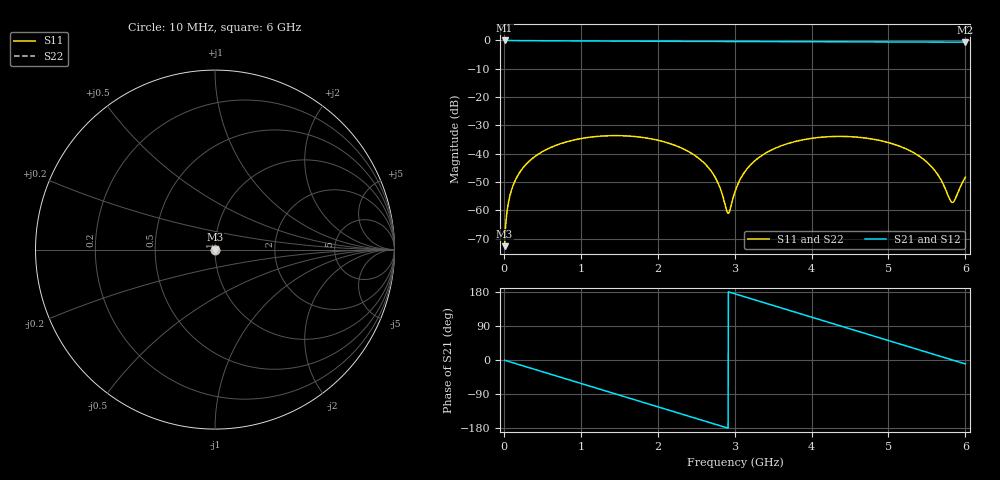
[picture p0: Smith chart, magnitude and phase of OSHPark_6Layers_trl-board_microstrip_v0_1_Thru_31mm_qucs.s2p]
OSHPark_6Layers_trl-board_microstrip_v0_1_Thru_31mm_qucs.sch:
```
<Qucs Schematic 0.0.19>
<Properties>
  <View=-103,-321,1501,625,1,19,14>
  <Grid=10,10,1>
  <DataSet=OSHPark_6Layers_trl-board_microstrip_v0_1_Thru_31mm_qucs.dat>
  <DataDisplay=OSHPark_6Layers_trl-board_microstrip_v0_1_Thru_31mm_qucs.dpl>
  <OpenDisplay=1>
  <Script=OSHPark_6Layers_trl-board_microstrip_v0_1_Thru_31mm_qucs.m>
  <RunScript=0>
  <showFrame=0>
  <FrameText0=Title>
  <FrameText1=Drawn By:>
  <FrameText2=Date:>
  <FrameText3=Revision:>
</Properties>
<Symbol>
</Symbol>
<Components>
  <Eqn Eqn1 1 230 -40 -30 16 0 0 "S11dB=dB(S[1,1])" 1 "S21dB=dB(S[2,1])" 1 "S21phase=phase(S[2,1])" 1 "yes" 0>
  <Eqn EqnTC1 1 430 -40 -23 12 0 0 "A=twoport(S,'S','A')" 1 "ZL=real(sqrt(A[1,2]/A[2,1]))" 1 "yes" 0>
  <SUBST Subst1 1 450 -230 -30 24 0 0 "3.66" 1 "0.11 mm" 1 "18 um" 1 "0.01" 1 "1.72e-08" 1 "0.1 um" 1>
  <GND * 1 310 -130 0 0 0 0>
  <GND * 1 70 -130 0 0 0 0>
  <Pac P1 1 70 -180 -74 -26 1 1 "1" 1 "50 Ohm" 1 "0 dBm" 0 "1 GHz" 0 "26.85" 0>
  <Pac P2 1 310 -170 18 -26 0 1 "2" 1 "50 Ohm" 1 "0 dBm" 0 "1 GHz" 0 "26.85" 0>
  <MLIN MS1 1 200 -260 -26 15 0 0 "Subst1" 1 "0.216 mm" 1 "31 mm" 1 "Hammerstad" 0 "Kirschning" 0 "25" 0>
  <.SP SP1 1 40 -70 0 63 0 0 "lin" 1 "0.01 GHz" 1 "6 GHz" 1 "1601" 1 "no" 0 "1" 0 "2" 0 "no" 0 "no" 0>
</Components>
<Wires>
  <310 -140 310 -130 "" 0 0 0 "">
  <70 -150 70 -130 "" 0 0 0 "">
  <310 -260 310 -200 "" 0 0 0 "">
  <230 -260 310 -260 "" 0 0 0 "">
  <70 -260 70 -210 "" 0 0 0 "">
  <70 -260 170 -260 "" 0 0 0 "">
</Wires>
<Diagrams>
  <Rect 640 76 814 346 3 #c0c0c0 1 00 1 0 2e+09 2e+10 1 -75.5285 10 -27.8096 1 -1 0.5 1 315 0 225 "" "" "">
	<"S11dB" #ff0000 0 3 0 0 0>
  </Rect>
  <Rect 640 503 816 383 3 #c0c0c0 1 00 1 0 0.2 1 1 -0.1 0.5 1.1 1 -0.1 0.5 1.1 315 0 225 "" "" "">
	<"S21dB" #0000ff 0 3 0 0 0>
  </Rect>
  <Rect 10 489 568 369 3 #c0c0c0 1 00 1 0 0.2 1 1 -0.1 0.5 1.1 1 -0.1 0.5 1.1 315 0 225 "" "" "">
	<"ZL" #0000ff 0 3 0 0 0>
  </Rect>
</Diagrams>
<Paintings>
</Paintings>
```
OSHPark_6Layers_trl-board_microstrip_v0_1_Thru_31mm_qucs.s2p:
# HZ S RI R 50
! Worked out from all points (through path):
!   1601 points, 10 MHz to 6 GHz, reference 50 ohm
!   highest |S21| = -0.02 dB at 10 MHz (marker M1); lowest = -0.6 dB at 6 GHz (marker M2)
!   group delay of S21, straight-line fit = 171 ps
!   lowest |S11| = -72.6 dB at 10 MHz (marker M3), VSWR 1.00, Z = 50 + j0.0231 ohm
!   |S11| at or under -10 dB: start of sweep to end of sweep
!   |S22| runs from -72.6 to -33.6 dB; largest |S21 - S12| = 0
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1e7  4.05e-05 0.000231  0.9982 -0.0108  0.9982 -0.0108  4.05e-05 0.000231
2.421125e8  0.00161 0.00526  0.9569 -0.2554  0.9569 -0.2554  0.00161 0.00526
9.83375e8  0.0161 0.00879  0.4791 -0.853  0.4791 -0.853  0.0161 0.00879
2.177631e9  0.011 -0.01  -0.6746 -0.6897  -0.6746 -0.6897  0.011 -0.01
2.911406e9  0.00089 -0.000115  -0.9576 -0.00558  -0.9576 -0.00558  0.00089 -0.000115
3.005e9  0.00108 0.00186  -0.9525 0.0908  -0.9525 0.0908  0.00108 0.00186
3.469225e9  0.00711 0.00903  -0.7886 0.5341  -0.7886 0.5341  0.00711 0.00903
4.4426e9  0.0201 -0.00139  0.0692 0.9413  0.0692 0.9413  0.0201 -0.00139
5.359819e9  0.00576 -0.00798  0.8179 0.4562  0.8179 0.4562  0.00576 -0.00798
5.824044e9  0.00139 -0.000151  0.9328 0.0076  0.9328 0.0076  0.00139 -0.000151
6e9  0.00202 0.00329  0.9162 -0.1683  0.9162 -0.1683  0.00202 0.00329
